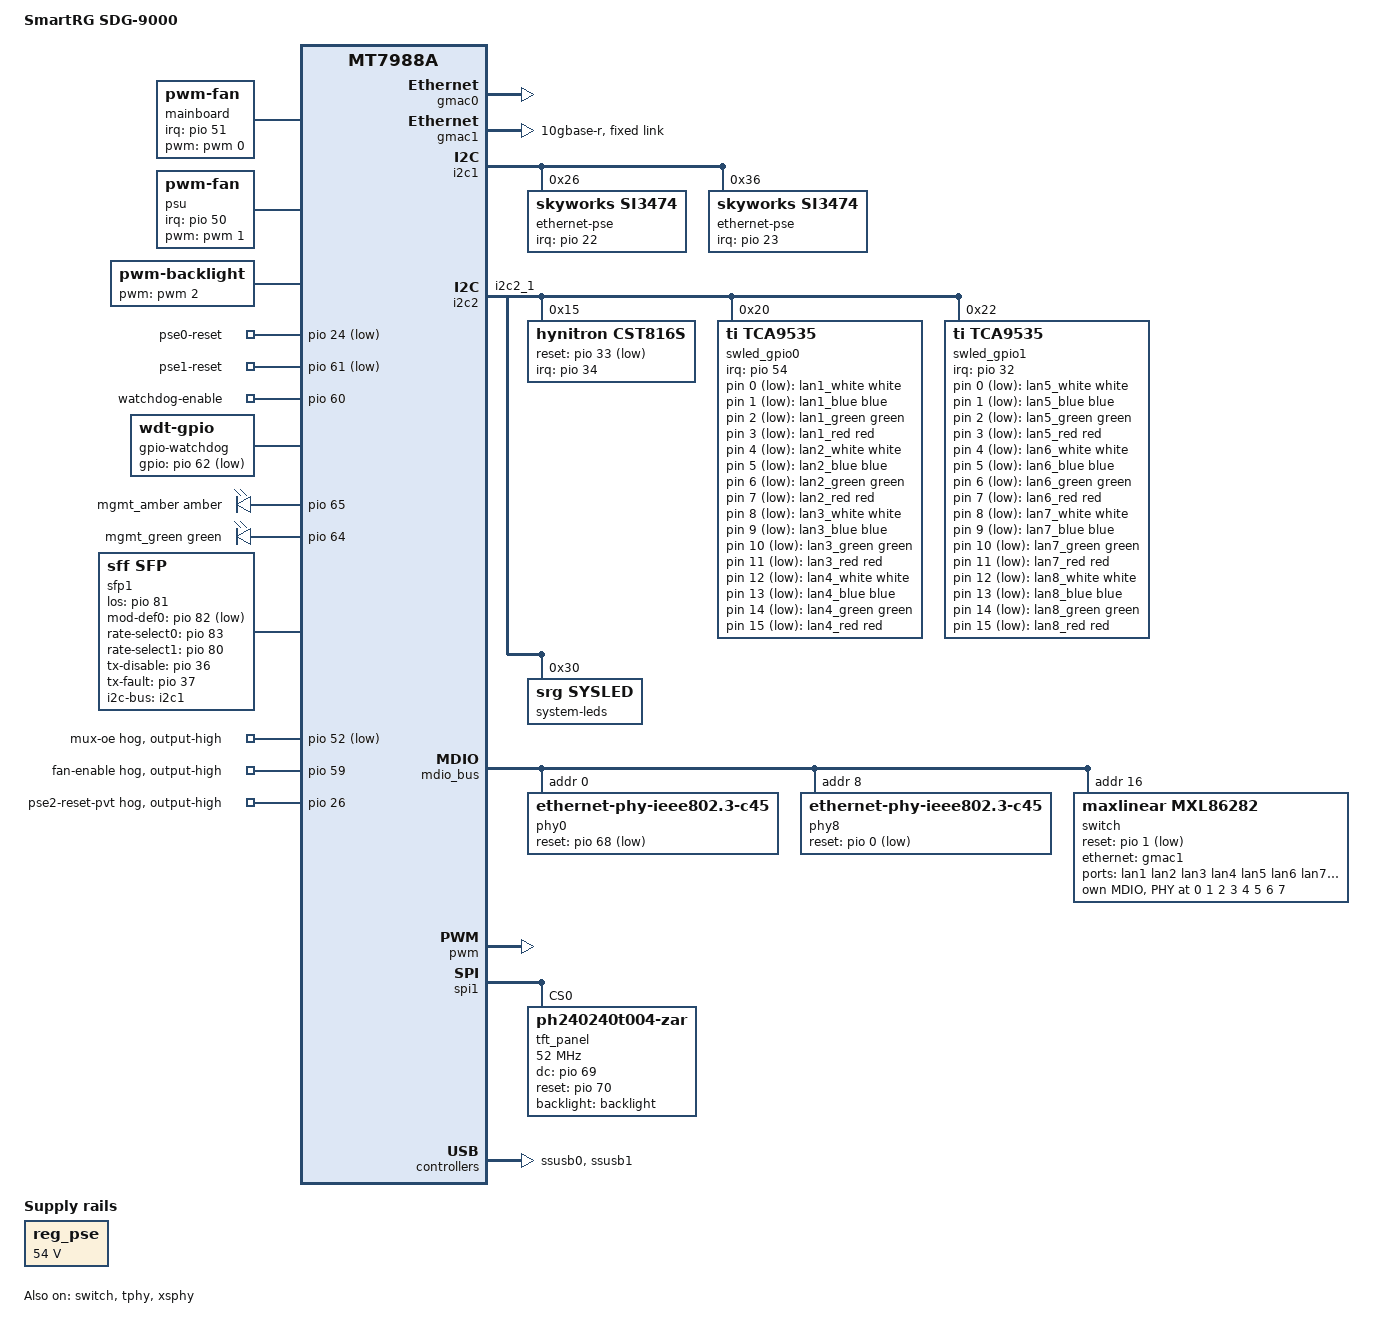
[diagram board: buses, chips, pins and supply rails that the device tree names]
// SPDX-License-Identifier: (GPL-2.0 OR MIT)
/*
 * Copyright (C) 2024 SmartRG Inc.
 * Author: Chad Monroe <chad.monroe@smartrg.com>
 */

#include "mt7988-smartrg-base.dtsi"

#include <dt-bindings/thermal/thermal.h>

/ {
	model = "SmartRG SDG-9000";
	compatible = "smartrg,sdg-9000", "mediatek,mt7988a";

	aliases {
		label-mac-device = &gmac2;
		led-boot = &led_sys_green;
		led-failsafe = &led_sys_blue;
		led-running = &led_sys_white;
		led-upgrade = &led_sys_red;
	};

	reg_pse: regulator-vpvr-pse {
		compatible = "regulator-fixed";
		regulator-name = "fixed-vpvr-pse";
		regulator-min-microvolt = <54000000>;
		regulator-max-microvolt = <54000000>;
		regulator-boot-on;
		regulator-always-on;
	};

	fan: pwm-fan {
		compatible = "pwm-fan";
		#cooling-cells = <2>;
		#thermal-sensor-cells = <1>;

		pinctrl-names = "default";
		pinctrl-0 = <&pwm0_fan_pins>;
		pwms = <&pwm 0 40000 0>;
		label = "mainboard";

		/**
		 * set fan speed
		 *
		 * 0 = off
		 * 77 = 30% duty cycle
		 * 102 = 40% duty cycle
		 * 128 - 50% duty cycle
		 * 152 - 60% duty cycle
		 * 255 = 100% duty cycle
		 */
		cooling-levels = <77 102 128 152>;

		interrupt-parent = <&pio>;
		interrupts = <51 IRQ_TYPE_EDGE_FALLING>;
		pulses-per-revolution = <2>;

		status = "okay";
	};

	fan2: pwm-fan2 {
		compatible = "pwm-fan";
		#cooling-cells = <2>;
		#thermal-sensor-cells = <1>;

		pinctrl-names = "default";
		pinctrl-0 = <&pwm1_fan_pins>;
		pwms = <&pwm 1 40000 0>;
		label = "psu";

		cooling-levels = <77 102 128 152>;

		interrupt-parent = <&pio>;
		interrupts = <50 IRQ_TYPE_EDGE_FALLING>;
		pulses-per-revolution = <2>;

		status = "okay";
	};

	backlight: backlight-lcd0 {
		compatible = "pwm-backlight";
		pwms = <&pwm 2 50000>;
		pinctrl-names = "default";
		pinctrl-0 = <&pwm2_backlight_pins>;

		status = "okay";
	};

	gpio-export {
		compatible = "gpio-export";

		/* gpio-export,output is the raw pin level; the active-low
		 * flag only inverts the sysfs value. 1 keeps the reset released.
		 */
		pse0_reset {
			gpio-export,name = "pse0-reset";
			gpio-export,output = <1>;
			gpios = <&pio 24 GPIO_ACTIVE_LOW>;
		};

		pse1_reset {
			gpio-export,name = "pse1-reset";
			gpio-export,output = <1>;
			gpios = <&pio 61 GPIO_ACTIVE_LOW>;
		};

		watchdog_enable {
			gpio-export,name = "watchdog-enable";
			gpio-export,output = <1>;
			gpios = <&pio 60 GPIO_ACTIVE_HIGH>;
		};
	};

	gpio-watchdog {
		compatible = "linux,wdt-gpio";
		gpios = <&pio 62 GPIO_ACTIVE_LOW>;
		hw_algo = "toggle";
		hw_margin_ms = <25000>;
		always-running;
	};

	leds: gpio-leds {
		compatible = "gpio-leds";

		mgmt_amber {
			color = <LED_COLOR_ID_AMBER>;
			function = "mgmt";
			gpios = <&pio 65 GPIO_ACTIVE_HIGH>;
			linux,default-trigger = "mt7530-0:03:100Mbps";
		};

		mgmt_green {
			color = <LED_COLOR_ID_GREEN>;
			function = "mgmt";
			gpios = <&pio 64 GPIO_ACTIVE_HIGH>;
			linux,default-trigger = "mt7530-0:03:1Gbps";
		};
	};

	lan-leds {
		compatible = "gpio-leds";

		lan1_white {
			gpios = <&swled_gpio0 0 GPIO_ACTIVE_LOW>;
			color = <LED_COLOR_ID_WHITE>;
			function = LED_FUNCTION_LAN;
			function-enumerator = <1>;
		};

		lan1_blue {
			gpios = <&swled_gpio0 1 GPIO_ACTIVE_LOW>;
			color = <LED_COLOR_ID_BLUE>;
			function = LED_FUNCTION_LAN;
			function-enumerator = <1>;
			linux,default-trigger = "pse-1-0026:port0:delivering";
		};

		lan1_green {
			gpios = <&swled_gpio0 2 GPIO_ACTIVE_LOW>;
			color = <LED_COLOR_ID_GREEN>;
			function = LED_FUNCTION_LAN;
			function-enumerator = <1>;
		};

		lan1_red {
			gpios = <&swled_gpio0 3 GPIO_ACTIVE_LOW>;
			color = <LED_COLOR_ID_RED>;
			function = LED_FUNCTION_LAN;
			function-enumerator = <1>;
			linux,default-trigger = "pse-1-0026:port0:fault";
		};

		lan2_white {
			gpios = <&swled_gpio0 4 GPIO_ACTIVE_LOW>;
			color = <LED_COLOR_ID_WHITE>;
			function = LED_FUNCTION_LAN;
			function-enumerator = <2>;
		};

		lan2_blue {
			gpios = <&swled_gpio0 5 GPIO_ACTIVE_LOW>;
			color = <LED_COLOR_ID_BLUE>;
			function = LED_FUNCTION_LAN;
			function-enumerator = <2>;
			linux,default-trigger = "pse-1-0026:port1:delivering";
		};

		lan2_green {
			gpios = <&swled_gpio0 6 GPIO_ACTIVE_LOW>;
			color = <LED_COLOR_ID_GREEN>;
			function = LED_FUNCTION_LAN;
			function-enumerator = <2>;
		};

		lan2_red {
			gpios = <&swled_gpio0 7 GPIO_ACTIVE_LOW>;
			color = <LED_COLOR_ID_RED>;
			function = LED_FUNCTION_LAN;
			function-enumerator = <2>;
			linux,default-trigger = "pse-1-0026:port1:fault";
		};

		lan3_white {
			gpios = <&swled_gpio0 8 GPIO_ACTIVE_LOW>;
			color = <LED_COLOR_ID_WHITE>;
			function = LED_FUNCTION_LAN;
			function-enumerator = <3>;
		};

		lan3_blue {
			gpios = <&swled_gpio0 9 GPIO_ACTIVE_LOW>;
			color = <LED_COLOR_ID_BLUE>;
			function = LED_FUNCTION_LAN;
			function-enumerator = <3>;
			linux,default-trigger = "pse-1-0026:port2:delivering";
		};

		lan3_green {
			gpios = <&swled_gpio0 10 GPIO_ACTIVE_LOW>;
			color = <LED_COLOR_ID_GREEN>;
			function = LED_FUNCTION_LAN;
			function-enumerator = <3>;
		};

		lan3_red {
			gpios = <&swled_gpio0 11 GPIO_ACTIVE_LOW>;
			color = <LED_COLOR_ID_RED>;
			function = LED_FUNCTION_LAN;
			function-enumerator = <3>;
			linux,default-trigger = "pse-1-0026:port2:fault";
		};

		lan4_white {
			gpios = <&swled_gpio0 12 GPIO_ACTIVE_LOW>;
			color = <LED_COLOR_ID_WHITE>;
			function = LED_FUNCTION_LAN;
			function-enumerator = <4>;
		};

		lan4_blue {
			gpios = <&swled_gpio0 13 GPIO_ACTIVE_LOW>;
			color = <LED_COLOR_ID_BLUE>;
			function = LED_FUNCTION_LAN;
			function-enumerator = <4>;
			linux,default-trigger = "pse-1-0026:port3:delivering";
		};

		lan4_green {
			gpios = <&swled_gpio0 14 GPIO_ACTIVE_LOW>;
			color = <LED_COLOR_ID_GREEN>;
			function = LED_FUNCTION_LAN;
			function-enumerator = <4>;
		};

		lan4_red {
			gpios = <&swled_gpio0 15 GPIO_ACTIVE_LOW>;
			color = <LED_COLOR_ID_RED>;
			function = LED_FUNCTION_LAN;
			function-enumerator = <4>;
			linux,default-trigger = "pse-1-0026:port3:fault";
		};

		lan5_white {
			gpios = <&swled_gpio1 0 GPIO_ACTIVE_LOW>;
			color = <LED_COLOR_ID_WHITE>;
			function = LED_FUNCTION_LAN;
			function-enumerator = <5>;
		};

		lan5_blue {
			gpios = <&swled_gpio1 1 GPIO_ACTIVE_LOW>;
			color = <LED_COLOR_ID_BLUE>;
			function = LED_FUNCTION_LAN;
			function-enumerator = <5>;
			linux,default-trigger = "pse-1-0036:port4:delivering";
		};

		lan5_green {
			gpios = <&swled_gpio1 2 GPIO_ACTIVE_LOW>;
			color = <LED_COLOR_ID_GREEN>;
			function = LED_FUNCTION_LAN;
			function-enumerator = <5>;
		};

		lan5_red {
			gpios = <&swled_gpio1 3 GPIO_ACTIVE_LOW>;
			color = <LED_COLOR_ID_RED>;
			function = LED_FUNCTION_LAN;
			function-enumerator = <5>;
			linux,default-trigger = "pse-1-0036:port4:fault";
		};

		lan6_white {
			gpios = <&swled_gpio1 4 GPIO_ACTIVE_LOW>;
			color = <LED_COLOR_ID_WHITE>;
			function = LED_FUNCTION_LAN;
			function-enumerator = <6>;
		};

		lan6_blue {
			gpios = <&swled_gpio1 5 GPIO_ACTIVE_LOW>;
			color = <LED_COLOR_ID_BLUE>;
			function = LED_FUNCTION_LAN;
			function-enumerator = <6>;
			linux,default-trigger = "pse-1-0036:port5:delivering";
		};

		lan6_green {
			gpios = <&swled_gpio1 6 GPIO_ACTIVE_LOW>;
			color = <LED_COLOR_ID_GREEN>;
			function = LED_FUNCTION_LAN;
			function-enumerator = <6>;
		};

		lan6_red {
			gpios = <&swled_gpio1 7 GPIO_ACTIVE_LOW>;
			color = <LED_COLOR_ID_RED>;
			function = LED_FUNCTION_LAN;
			function-enumerator = <6>;
			linux,default-trigger = "pse-1-0036:port5:fault";
		};

		lan7_white {
			gpios = <&swled_gpio1 8 GPIO_ACTIVE_LOW>;
			color = <LED_COLOR_ID_WHITE>;
			function = LED_FUNCTION_LAN;
			function-enumerator = <7>;
		};

		lan7_blue {
			gpios = <&swled_gpio1 9 GPIO_ACTIVE_LOW>;
			color = <LED_COLOR_ID_BLUE>;
			function = LED_FUNCTION_LAN;
			function-enumerator = <7>;
			linux,default-trigger = "pse-1-0036:port6:delivering";
		};

		lan7_green {
			gpios = <&swled_gpio1 10 GPIO_ACTIVE_LOW>;
			color = <LED_COLOR_ID_GREEN>;
			function = LED_FUNCTION_LAN;
			function-enumerator = <7>;
		};

		lan7_red {
			gpios = <&swled_gpio1 11 GPIO_ACTIVE_LOW>;
			color = <LED_COLOR_ID_RED>;
			function = LED_FUNCTION_LAN;
			function-enumerator = <7>;
			linux,default-trigger = "pse-1-0036:port6:fault";
		};

		lan8_white {
			gpios = <&swled_gpio1 12 GPIO_ACTIVE_LOW>;
			color = <LED_COLOR_ID_WHITE>;
			function = LED_FUNCTION_LAN;
			function-enumerator = <8>;
		};

		lan8_blue {
			gpios = <&swled_gpio1 13 GPIO_ACTIVE_LOW>;
			color = <LED_COLOR_ID_BLUE>;
			function = LED_FUNCTION_LAN;
			function-enumerator = <8>;
			linux,default-trigger = "pse-1-0036:port7:delivering";
		};

		lan8_green {
			gpios = <&swled_gpio1 14 GPIO_ACTIVE_LOW>;
			color = <LED_COLOR_ID_GREEN>;
			function = LED_FUNCTION_LAN;
			function-enumerator = <8>;
		};

		lan8_red {
			gpios = <&swled_gpio1 15 GPIO_ACTIVE_LOW>;
			color = <LED_COLOR_ID_RED>;
			function = LED_FUNCTION_LAN;
			function-enumerator = <8>;
			linux,default-trigger = "pse-1-0036:port7:fault";
		};
	};

	sfp1: sfp1 {
		compatible = "sff,sfp";
		i2c-bus = <&i2c1>;
		los-gpios = <&pio 81 GPIO_ACTIVE_HIGH>;
		mod-def0-gpios = <&pio 82 GPIO_ACTIVE_LOW>;
		rate-select0-gpios = <&pio 83 GPIO_ACTIVE_HIGH>;
		rate-select1-gpios = <&pio 80 GPIO_ACTIVE_HIGH>;
		tx-disable-gpios = <&pio 36 GPIO_ACTIVE_HIGH>;
		tx-fault-gpios = <&pio 37 GPIO_ACTIVE_HIGH>;
		maximum-power-milliwatt = <4000>;
	};

	thermal-zones {
		cpu_thermal: cpu-thermal {
			thermal-sensors = <&lvts 0>;
			SDG_2FAN_THERMAL_MAP(cpu_thermal, &fan, &fan2,
					     125000, 120000,
					     110000, 80000,
					     60000, 40000);
		};

		aqr_lan_thermal: aqr-lan-thermal {
			thermal-sensors = <&phy0>;
			SDG_2FAN_THERMAL_MAP(aqr_lan_thermal, &fan, &fan2,
					     108000, 104000,
					     100000, 90000,
					     80000, 40000);
		};

		aqr_wan_thermal: aqr-wan-thermal {
			thermal-sensors = <&phy8>;
			SDG_2FAN_THERMAL_MAP(aqr_wan_thermal, &fan, &fan2,
					     108000, 104000,
					     100000, 90000,
					     80000, 40000);
		};

		mxl_thermal: mxl-thermal {
			thermal-sensors = <&swphy0>;
			SDG_2FAN_THERMAL_MAP(mxl_thermal, &fan, &fan2,
					     110000, 105000,
					     100000, 80000,
					     60000, 40000);
		};
	};
};

&gmac0 {
	nvmem-cells = <&macaddr 0x0>;
	nvmem-cell-names = "mac-address";
	openwrt,netdev-name = "dsa0";

	status = "okay";
};

&gmac1 {
	nvmem-cells = <&macaddr 0x1>;
	nvmem-cell-names = "mac-address";
	openwrt,netdev-name = "dsa1";
	phy-mode = "10gbase-r";

	status = "okay";

	fixed-link {
		speed = <10000>;
		full-duplex;
		pause;
	};
};

&gmac2 {
	nvmem-cells = <&macaddr 0x0>;
	nvmem-cell-names = "mac-address";
	openwrt,netdev-name = "wan";

	status = "disabled";
};

&gsw_phy0 {
	status = "disabled";
};

&gsw_phy1 {
	status = "disabled";
};

&gsw_phy2 {
	status = "disabled";
};

&i2c1 {
	ethernet-pse@26 {
		compatible = "skyworks,si3474";
		reg-names = "main", "secondary";
		reg = <0x26>, <0x27>;
		interrupt-parent = <&pio>;
		interrupts = <22 IRQ_TYPE_LEVEL_LOW>;
		channels {
			#address-cells = <1>;
			#size-cells = <0>;
			phys0_0: channel@0 {
				reg = <0>;
			};
			phys0_1: channel@1 {
				reg = <1>;
			};
			phys0_2: channel@2 {
				reg = <2>;
			};
			phys0_3: channel@3 {
				reg = <3>;
			};
			phys0_4: channel@4 {
				reg = <4>;
			};
			phys0_5: channel@5 {
				reg = <5>;
			};
			phys0_6: channel@6 {
				reg = <6>;
			};
			phys0_7: channel@7 {
				reg = <7>;
			};
		};
		pse-pis {
			#address-cells = <1>;
			#size-cells = <0>;
			pse_pi0: pse-pi@0 {
				reg = <0>;
				#pse-cells = <0>;
				pairset-names = "alternative-a", "alternative-b";
				pairsets = <&phys0_4>, <&phys0_5>;
				polarity-supported = "MDI-X", "S";
				vpwr-supply = <&reg_pse>;
			};
			pse_pi1: pse-pi@1 {
				reg = <1>;
				#pse-cells = <0>;
				pairset-names = "alternative-a", "alternative-b";
				pairsets = <&phys0_6>, <&phys0_7>;
				polarity-supported = "MDI-X", "S";
				vpwr-supply = <&reg_pse>;
			};
			pse_pi2: pse-pi@2 {
				reg = <2>;
				#pse-cells = <0>;
				pairset-names = "alternative-a", "alternative-b";
				pairsets = <&phys0_0>, <&phys0_1>;
				polarity-supported = "MDI-X", "S";
				vpwr-supply = <&reg_pse>;
			};
			pse_pi3: pse-pi@3 {
				reg = <3>;
				#pse-cells = <0>;
				pairset-names = "alternative-a", "alternative-b";
				pairsets = <&phys0_2>, <&phys0_3>;
				polarity-supported = "MDI-X", "S";
				vpwr-supply = <&reg_pse>;
			};
		};
	};
	ethernet-pse@36 {
		compatible = "skyworks,si3474";
		reg-names = "main", "secondary";
		reg = <0x36>, <0x37>;
		interrupt-parent = <&pio>;
		interrupts = <23 IRQ_TYPE_LEVEL_LOW>;
		channels {
			#address-cells = <1>;
			#size-cells = <0>;
			phys1_0: channel@0 {
				reg = <0>;
			};
			phys1_1: channel@1 {
				reg = <1>;
			};
			phys1_2: channel@2 {
				reg = <2>;
			};
			phys1_3: channel@3 {
				reg = <3>;
			};
			phys1_4: channel@4 {
				reg = <4>;
			};
			phys1_5: channel@5 {
				reg = <5>;
			};
			phys1_6: channel@6 {
				reg = <6>;
			};
			phys1_7: channel@7 {
				reg = <7>;
			};
		};
		pse-pis {
			#address-cells = <1>;
			#size-cells = <0>;
			pse_pi4: pse-pi@4 {
				reg = <4>;
				#pse-cells = <0>;
				pairset-names = "alternative-a", "alternative-b";
				pairsets = <&phys1_0>, <&phys1_1>;
				polarity-supported = "MDI-X", "S";
				vpwr-supply = <&reg_pse>;
			};
			pse_pi5: pse-pi@5 {
				reg = <5>;
				#pse-cells = <0>;
				pairset-names = "alternative-a", "alternative-b";
				pairsets = <&phys1_2>, <&phys1_3>;
				polarity-supported = "MDI-X", "S";
				vpwr-supply = <&reg_pse>;
			};
			pse_pi6: pse-pi@6 {
				reg = <6>;
				#pse-cells = <0>;
				pairset-names = "alternative-a", "alternative-b";
				pairsets = <&phys1_4>, <&phys1_5>;
				polarity-supported = "MDI-X", "S";
				vpwr-supply = <&reg_pse>;
			};
			pse_pi7: pse-pi@7 {
				reg = <7>;
				#pse-cells = <0>;
				pairset-names = "alternative-a", "alternative-b";
				pairsets = <&phys1_6>, <&phys1_7>;
				polarity-supported = "MDI-X", "S";
				vpwr-supply = <&reg_pse>;
			};
		};
	};
};

&i2c2 {
	pinctrl-names = "default";
	pinctrl-0 = <&i2c2_1_pins>;
	status = "okay";

	cst816s: cst816s@15 {
		compatible = "hynitron,cst816s";
		reg = <0x15>;
		interrupt-parent = <&pio>;
		interrupts = <34 IRQ_TYPE_EDGE_RISING>;
		reset-gpios = <&pio 33 GPIO_ACTIVE_LOW>;
		linux,keycodes = <BTN_RIGHT>, <BTN_LEFT>,
				 <BTN_FORWARD>, <BTN_BACK>,
				 <BTN_TOOL_TRIPLETAP>;
		touchscreen-size-x = <240>;
		touchscreen-size-y = <240>;
		touchscreen-swapped-x-y;
		touchscreen-inverted-y;
		panel = <&tft_panel>;
	};

	swled_gpio0: tca9535@20 {
		#address-cells = <1>;
		#size-cells = <0>;

		compatible = "ti,tca9535";
		reg = <0x20>;
		gpio-controller;
		#gpio-cells = <2>;
		interrupt-controller;
		#interrupt-cells = <2>;
		interrupt-parent = <&pio>;
		interrupts = <54 IRQ_TYPE_LEVEL_LOW>;
	};

	swled_gpio1: tca9535@22 {
		#address-cells = <1>;
		#size-cells = <0>;

		compatible = "ti,tca9535";
		reg = <0x22>;
		gpio-controller;
		#gpio-cells = <2>;
		interrupt-controller;
		#interrupt-cells = <2>;
		interrupt-parent = <&pio>;
		interrupts = <32 IRQ_TYPE_LEVEL_LOW>;
	};

	system-leds@30 {
		compatible = "srg,sysled";
		reg = <0x30>;
		#address-cells = <1>;
		#size-cells = <0>;

		led_sys_red: led-system-red {
			color = <LED_COLOR_ID_RED>;
			function = LED_FUNCTION_STATUS;
			reg = <1>;
		};

		led_sys_green: led-system-green {
			color = <LED_COLOR_ID_GREEN>;
			function = LED_FUNCTION_STATUS;
			reg = <2>;
		};

		led_sys_blue: led-system-blue {
			color = <LED_COLOR_ID_BLUE>;
			function = LED_FUNCTION_STATUS;
			reg = <3>;
		};

		led_sys_white: led-system-white {
			color = <LED_COLOR_ID_WHITE>;
			function = LED_FUNCTION_STATUS;
			reg = <4>;
		};
	};
};

&mdio_bus {
	clock-frequency = <12500000>;

	phy0: ethernet-phy@0 {
		/* CUX3410 - LAN */
		compatible = "ethernet-phy-ieee802.3-c45";
		reg = <0>;
		#thermal-sensor-cells = <0>;

		reset-gpios = <&pio 68 GPIO_ACTIVE_LOW>;
		reset-assert-us = <100000>;
		reset-deassert-us = <1000000>;

		marvell,mdi-cfg-order = <0>;

		leds {
			#address-cells = <1>;
			#size-cells = <0>;

			led@0 {
				reg = <0>;
				function = LED_FUNCTION_LAN;
				color = <LED_COLOR_ID_WHITE>;
			};

			led@1 {
				reg = <1>;
				function = LED_FUNCTION_LAN;
				color = <LED_COLOR_ID_ORANGE>;
			};

			led@2 {
				reg = <2>;
				function = LED_FUNCTION_LAN;
				color = <LED_COLOR_ID_GREEN>;
			};
		};
	};

	phy8: ethernet-phy@8 {
		/* CUX3410 - WAN */
		compatible = "ethernet-phy-ieee802.3-c45";
		reg = <8>;
		#thermal-sensor-cells = <0>;

		reset-gpios = <&pio 0 GPIO_ACTIVE_LOW>;
		reset-assert-us = <100000>;
		reset-deassert-us = <1000000>;

		marvell,mdi-cfg-order = <0>;
	};

	switch@10 {
		#address-cells = <1>;
		#size-cells = <0>;
		compatible = "maxlinear,mxl86282";
		reg = <16>;
		dsa,member = <1 0>;

		status = "okay";

		firmware-version = <1 0 85>;
		firmware-name = "maxlinear/mxl862xxc.bin";

		reset-gpios = <&pio 1 GPIO_ACTIVE_LOW>;

		ports {
			#address-cells = <1>;
			#size-cells = <0>;

			port@1 {
				reg = <1>;
				label = "lan1";
				phy-handle = <&swphy0>;
				phy-mode = "internal";
				status = "okay";
			};

			port@2 {
				reg = <2>;
				label = "lan2";
				phy-handle = <&swphy1>;
				phy-mode = "internal";
				status = "okay";
			};

			port@3 {
				reg = <3>;
				label = "lan3";
				phy-handle = <&swphy2>;
				phy-mode = "internal";
				status = "okay";
			};

			port@4 {
				reg = <4>;
				label = "lan4";
				phy-handle = <&swphy3>;
				phy-mode = "internal";
				status = "okay";
			};

			port@5 {
				reg = <5>;
				label = "lan5";
				phy-handle = <&swphy4>;
				phy-mode = "internal";
				status = "okay";
			};

			port@6 {
				reg = <6>;
				label = "lan6";
				phy-handle = <&swphy5>;
				phy-mode = "internal";
				status = "okay";
			};

			port@7 {
				reg = <7>;
				label = "lan7";
				phy-handle = <&swphy6>;
				phy-mode = "internal";
				status = "okay";
			};

			port@8 {
				reg = <8>;
				label = "lan8";
				phy-handle = <&swphy7>;
				phy-mode = "internal";
				status = "okay";
			};

			port@9 {
				reg = <9>;
				label = "cpu";
				phy-mode = "10gbase-r";
				ethernet = <&gmac1>;
				dsa-tag-protocol = "mxl862xx-8021q";

				fixed-link {
					speed = <10000>;
					full-duplex;
				};
			};

			port@13 {
				reg = <13>;
				label = "lan9";
				phy-handle = <&phy0>;
				phy-mode = "usxgmii";
				managed = "in-band-status";
				status = "okay";
			};
		};

		mdio {
			#address-cells = <1>;
			#size-cells = <0>;

			swphy0: swphy@0 {
				reg = <0>;
				#thermal-sensor-cells = <0>;
				pses = <&pse_pi0>;
			};
			swphy1: swphy@1 {
				reg = <1>;
				pses = <&pse_pi1>;
			};
			swphy2: swphy@2 {
				reg = <2>;
				pses = <&pse_pi2>;
			};
			swphy3: swphy@3 {
				reg = <3>;
				pses = <&pse_pi3>;
			};
			swphy4: swphy@4 {
				reg = <4>;
				pses = <&pse_pi4>;
			};
			swphy5: swphy@5 {
				reg = <5>;
				pses = <&pse_pi5>;
			};
			swphy6: swphy@6 {
				reg = <6>;
				pses = <&pse_pi6>;
			};
			swphy7: swphy@7 {
				reg = <7>;
				pses = <&pse_pi7>;
			};
		};
	};
};

&emmc_block {
	partitions {
		block-partition-mfginfo {
			partname = "mfginfo";

			nvmem-layout {
				compatible = "adtran,mfginfo";

				macaddr: mfg-mac {
					#nvmem-cell-cells = <1>;
				};
			};
		};
	};
};

&pio {
	i2c2_1_pins: i2c2-pins-g1 {
		mux {
			function = "i2c";
			groups = "i2c2_1";
		};
	};

	mux_oe: mux-oe-hog {
		gpio-hog;
		gpios = <52 GPIO_ACTIVE_LOW>;
		line-name = "mux-oe";
		output-high;
	};

	fan_enable: fan-enable-hog {
		gpio-hog;
		gpios = <59 GPIO_ACTIVE_HIGH>;
		line-name = "fan-enable";
		output-high;
	};

	/**
	 * The hack to release PSE2 driver from reset
	 * for units older than PVT2.
	 */
	pse2_reset_pvt: pse2-reset-pvt-hog {
		gpio-hog;
		gpios = <26 GPIO_ACTIVE_HIGH>;
		line-name = "pse2-reset-pvt";
		output-high;
	};

	pwm0_fan_pins: pwm0-pins {
		mux {
			function = "pwm";
			groups = "pwm0";
		};
	};

	pwm1_fan_pins: pwm1-pins {
		mux {
			function = "pwm";
			groups = "pwm1";
		};
	};

	pwm2_backlight_pins: pwm2-pins {
		mux {
			function = "pwm";
			groups = "pwm2_0";
		};

		conf {
			groups = "pwm2_0";
			bias-pull-down = <MTK_PUPD_SET_R1R0_10>;
		};
	};
};

&pwm {
	status = "okay";
};

&spi1 {
	status = "okay";

	tft_panel: display@0 {
		compatible = "ph240240t004-zar", "panel-mipi-dbi-spi";
		reg = <0>;
		spi-max-frequency = <52000000>;
		spi-tx-buswidth = <1>;
		spi-rx-buswidth = <0>;
		spi-cpha;
		spi-cpol;

		dc-gpios = <&pio 69 GPIO_ACTIVE_HIGH>;
		reset-gpios = <&pio 70 GPIO_ACTIVE_HIGH>;
		backlight = <&backlight>;
		write-only;

		width-mm = <23>;
		height-mm = <23>;

		panel-timing {
			hactive = <240>;
			vactive = <240>;
			hback-porch = <80>;
			vback-porch = <0>;
			clock-frequency = <0>;
			hfront-porch = <0>;
			hsync-len = <0>;
			vfront-porch = <0>;
			vsync-len = <0>;
		};
	};
};

&ssusb0 {
	status = "okay";
};

&ssusb1 {
	status = "okay";
};

&switch {
	status = "okay";

	ports {
		port@0 {
			status = "disabled";
		};

		port@1 {
			status = "disabled";
		};

		port@2 {
			status = "disabled";
		};

		port@3 {
			label = "aux";
		};
	};
};

&tphy {
	status = "okay";
};

&xsphy {
	status = "okay";
};
